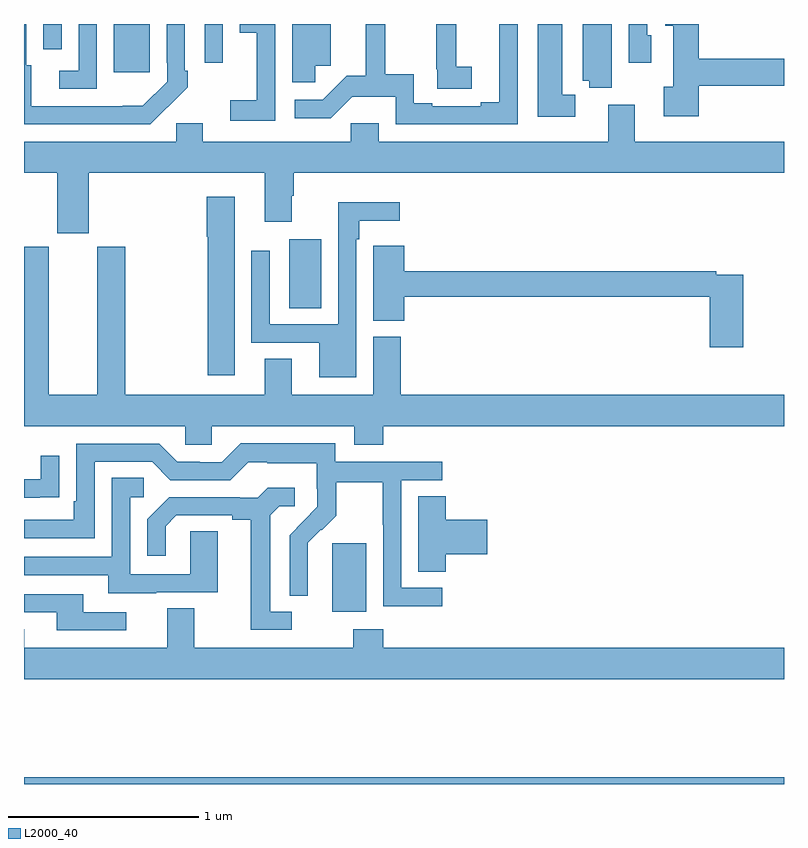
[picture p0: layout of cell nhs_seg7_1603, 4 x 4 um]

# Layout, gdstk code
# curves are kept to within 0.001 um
import gdstk
lib = gdstk.Library(unit=1e-6, precision=1e-09)
def R(c, l, rs):  # rectangles x0, y0, x1, y1
    for r in rs: c.add(gdstk.rectangle(r[:2], r[2:], *l))
def P(c, l, *ps):  # polygons
    for p in ps: c.add(gdstk.Polygon(p, *l))
L2000_40 = (2000, 40)

nhs_seg7_1603 = lib.new_cell('nhs_seg7_1603')
R(nhs_seg7_1603, L2000_40, [(219,1064,223,1064.036), (220.622,1064.906,220.801,1065.267), (220.397,1066.504,220.564,1066.867), (219.473,1067.745,219.661,1068), (219.951,1067.796,220.047,1068), (219.102,1067.868,219.198,1068)])
P(nhs_seg7_1603, L2000_40, [(222.551,1067.674),(223,1067.674),(223,1067.816),(222.551,1067.816),(222.551,1068),(222.374,1068),(222.374,1067.99),(222.416,1067.99),(222.416,1067.67),(222.366,1067.67),(222.366,1067.514),(222.551,1067.514)],
  [(219.384,1068),(219.288,1068),(219.288,1067.754),(219.186,1067.754),(219.186,1067.658),(219.384,1067.658)],
  [(222.3,1067.94),(222.279,1067.94),(222.279,1068),(222.183,1068),(222.183,1067.796),(222.3,1067.796)],
  [(221.356,1067.774),(221.274,1067.774),(221.274,1068),(221.17,1068),(221.17,1067.761),(221.176,1067.761),(221.176,1067.659),(221.356,1067.659)],
  [(222.094,1068),(221.942,1068),(221.942,1067.702),(221.974,1067.702),(221.974,1067.665),(222.094,1067.665)],
  [(220.533,1067.78),(220.615,1067.78),(220.615,1068),(220.412,1068),(220.412,1067.694),(220.533,1067.694)],
  [(219.755,1067.563),(219.756,1067.562),(219.861,1067.667),(219.861,1067.755),(219.846,1067.755),(219.846,1068),(219.75,1068),(219.75,1067.797),(219.753,1067.797),(219.753,1067.697),(219.625,1067.569),(219.521,1067.568),(219.037,1067.568),(219.037,1067.784),(219.013,1067.784),(219.013,1068),(219,1068),(219,1067.472),(219.664,1067.472)],
  [(221.598,1068),(221.5,1068),(221.501,1067.588),(221.405,1067.588),(221.405,1067.568),(221.149,1067.568),(221.149,1067.582),(221.052,1067.582),(221.052,1067.735),(220.901,1067.735),(220.901,1068),(220.799,1068),(220.799,1067.728),(220.699,1067.728),(220.572,1067.601),(220.425,1067.601),(220.425,1067.505),(220.614,1067.505),(220.727,1067.618),(220.956,1067.618),(220.956,1067.472),(221.598,1067.472)],
  [(221.902,1067.628),(221.833,1067.628),(221.833,1068),(221.705,1068),(221.705,1067.513),(221.902,1067.513)],
  [(220.323,1068),(220.136,1068),(220.136,1067.954),(220.226,1067.954),(220.226,1067.599),(220.086,1067.599),(220.086,1067.49),(220.323,1067.49)],
  [(219.34,1067.216),(220.268,1067.216),(220.268,1066.959),(220.408,1066.959),(220.408,1067.096),(220.421,1067.096),(220.421,1067.216),(223,1067.216),(223,1067.38),(222.214,1067.38),(222.214,1067.575),(222.074,1067.575),(222.074,1067.38),(220.867,1067.38),(220.867,1067.478),(220.721,1067.478),(220.721,1067.38),(219.94,1067.38),(219.94,1067.478),(219.801,1067.478),(219.801,1067.38),(219,1067.38),(219,1067.216),(219.176,1067.216),(219.176,1066.899),(219.34,1066.899)],
  [(220.108,1067.092),(219.962,1067.092),(219.962,1066.879),(219.967,1066.879),(219.967,1066.152),(220.108,1066.152)],
  [(220.749,1066.868),(220.765,1066.868),(220.765,1066.964),(220.978,1066.964),(220.978,1067.062),(220.653,1067.062),(220.653,1066.419),(220.293,1066.419),(220.293,1066.807),(220.197,1066.807),(220.197,1066.323),(220.553,1066.323),(220.553,1066.142),(220.749,1066.142)],
  [(222.786,1066.68),(222.644,1066.68),(222.644,1066.7),(221,1066.7),(221,1066.834),(220.839,1066.834),(220.839,1066.721),(220.838,1066.721),(220.838,1066.438),(221,1066.438),(221,1066.564),(222.608,1066.564),(222.608,1066.299),(222.786,1066.299)],
  [(220.892,1065.884),(223,1065.884),(223,1066.048),(220.982,1066.048),(220.982,1066.353),(220.838,1066.353),(220.838,1066.048),(220.408,1066.048),(220.408,1066.238),(220.268,1066.238),(220.268,1066.048),(219.534,1066.048),(219.534,1066.827),(219.386,1066.827),(219.386,1066.048),(219.13,1066.048),(219.13,1066.827),(219,1066.827),(219,1065.884),(219.849,1065.884),(219.849,1065.786),(219.987,1065.786),(219.987,1065.884),(220.739,1065.884),(220.739,1065.785),(220.892,1065.785)],
  [(221.2,1065.033),(220.986,1065.033),(220.986,1065.6),(221.2,1065.6),(221.2,1065.696),(220.638,1065.696),(220.638,1065.793),(220.141,1065.793),(220.041,1065.693),(219.926,1065.693),(219.926,1065.696),(219.807,1065.696),(219.711,1065.792),(219.276,1065.792),(219.276,1065.487),(219.263,1065.487),(219.263,1065.39),(219,1065.39),(219,1065.294),(219.372,1065.294),(219.372,1065.696),(219.675,1065.696),(219.771,1065.6),(220.086,1065.6),(220.179,1065.693),(220.279,1065.693),(220.279,1065.689),(220.542,1065.689),(220.542,1065.555),(220.544,1065.555),(220.544,1065.458),(220.398,1065.31),(220.398,1064.992),(220.494,1064.992),(220.493,1065.269),(220.563,1065.339),(220.566,1065.336),(220.643,1065.413),(220.643,1065.588),(220.888,1065.588),(220.888,1065.364),(220.89,1065.364),(220.89,1064.935),(221.2,1064.935)],
  [(219.083,1065.508),(219.185,1065.508),(219.185,1065.727),(219.089,1065.727),(219.089,1065.603),(219,1065.603),(219,1065.507),(219.083,1065.507)],
  [(219.697,1065.009),(220.021,1065.009),(220.021,1065.329),(219.876,1065.329),(219.876,1065.105),(219.558,1065.105),(219.558,1065.51),(219.631,1065.51),(219.631,1065.611),(219.462,1065.611),(219.462,1065.195),(219,1065.195),(219,1065.099),(219.443,1065.099),(219.443,1065.005),(219.697,1065.005)],
  [(220.408,1064.907),(220.297,1064.907),(220.297,1065.415),(220.344,1065.462),(220.426,1065.462),(220.426,1065.559),(220.282,1065.559),(220.23,1065.507),(220.136,1065.507),(220.136,1065.51),(219.764,1065.51),(219.648,1065.394),(219.648,1065.201),(219.745,1065.201),(219.745,1065.357),(219.802,1065.414),(220.097,1065.414),(220.097,1065.392),(220.193,1065.392),(220.193,1064.811),(220.408,1064.811)],
  [(221.219,1065.209),(221.437,1065.209),(221.437,1065.392),(221.219,1065.392),(221.219,1065.515),(221.075,1065.515),(221.075,1065.118),(221.219,1065.118)],
  [(219.538,1064.904),(219.313,1064.904),(219.313,1065),(219,1065),(219,1064.904),(219.173,1064.904),(219.173,1064.808),(219.538,1064.808)],
  [(223,1064.716),(220.892,1064.716),(220.892,1064.815),(220.732,1064.815),(220.732,1064.716),(219.895,1064.716),(219.895,1064.924),(219.755,1064.924),(219.755,1064.716),(219.001,1064.716),(219.001,1064.815),(219,1064.815),(219,1064.552),(223,1064.552)])

lib.write_gds('nhs_seg7_1603.gds')
